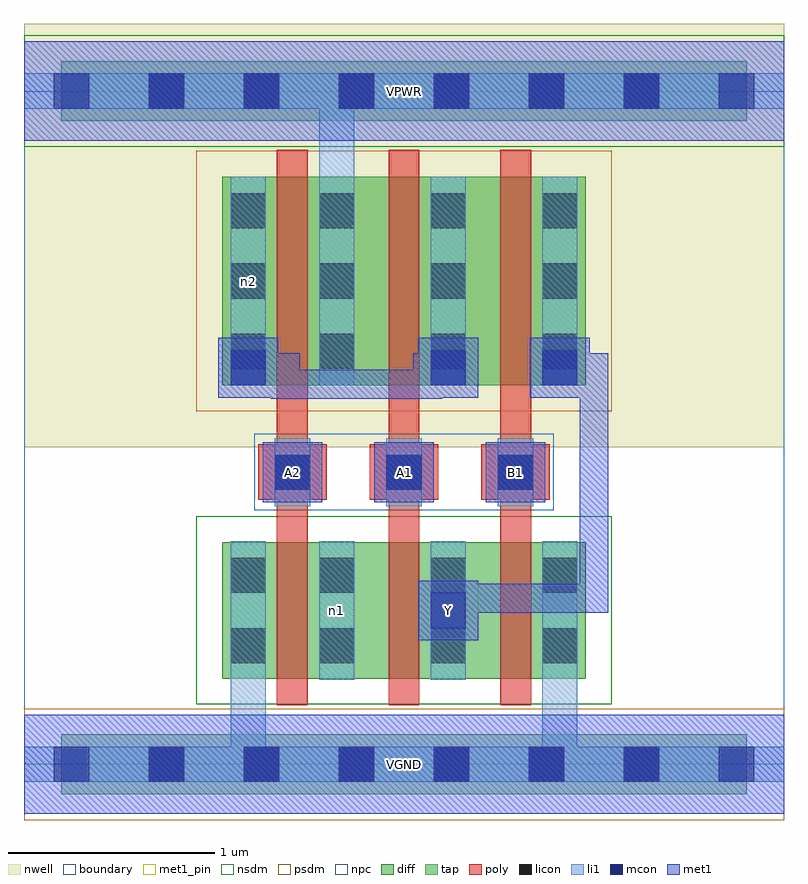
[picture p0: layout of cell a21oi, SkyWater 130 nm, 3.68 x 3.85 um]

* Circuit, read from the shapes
.subckt a21oi A1 A2 B1 VGND VPWR Y n1 n2
XM1 n1 A2 VGND VGND sky130_fd_pr__nfet_01v8 w=0.66 l=0.15
XM2 Y A1 n1 VGND sky130_fd_pr__nfet_01v8 w=0.66 l=0.15
XM3 VGND B1 Y VGND sky130_fd_pr__nfet_01v8 w=0.66 l=0.15
XM4 VPWR A2 n2 VPWR sky130_fd_pr__pfet_01v8 w=1.01 l=0.15
XM5 n2 A1 VPWR VPWR sky130_fd_pr__pfet_01v8 w=1.01 l=0.15
XM6 Y B1 n2 VPWR sky130_fd_pr__pfet_01v8 w=1.01 l=0.15
.ends

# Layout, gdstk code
import gdstk
lib = gdstk.Library(unit=1e-6, precision=1e-09)
def R(c, l, rs):  # rectangles x0, y0, x1, y1
    for r in rs: c.add(gdstk.rectangle(r[:2], r[2:], *l))
def A(c, l, x, y, w, h, nx, ny, dx, dy):  # array of equal rectangles
    R(c, l, [(x+i*dx, y+j*dy, x+i*dx+w, y+j*dy+h) for i in range(nx) for j in range(ny)])
nwell = (64, 20)
diff = (65, 20)
tap = (65, 44)
poly = (66, 20)
licon = (66, 44)
li1 = (67, 20)
mcon = (67, 44)
met1_pin = (68, 16)
met1 = (68, 20)
nsdm = (93, 44)
psdm = (94, 20)
npc = (95, 20)
boundary = (235, 4)

a21oi = lib.new_cell('a21oi')
R(a21oi, nwell, [(0,1.535,3.68,3.585)])
R(a21oi, diff, [(0.96,0.415,2.72,1.075), (0.96,1.835,2.72,2.845)])
R(a21oi, tap, [(0.18,-0.145,3.5,0.145), (0.18,3.115,3.5,3.405)])
A(a21oi, poly, 1.225, 0.285, 0.15, 2.69, 3, 1, 0.54, 0)
A(a21oi, poly, 1.135, 1.28, 0.33, 0.27, 3, 1, 0.54, 0)
A(a21oi, licon, 0.605, -0.085, 0.17, 0.17, 6, 2, 0.46, 3.26)
A(a21oi, licon, 1.43, 0.49, 0.17, 0.17, 3, 2, 0.54, 0.34)
A(a21oi, licon, 1.215, 1.33, 0.17, 0.17, 3, 1, 0.54, 0)
A(a21oi, licon, 1, 1.915, 0.17, 0.17, 1, 3, 0, 0.34)
A(a21oi, licon, 1.43, 1.915, 0.17, 0.17, 3, 3, 0.54, 0.34)
R(a21oi, licon, [(1,0.49,1.17,0.66), (1,0.83,1.17,1)])
A(a21oi, li1, 1.43, 0.41, 0.17, 0.67, 3, 1, 0.54, 0)
A(a21oi, li1, 1.215, 1.25, 0.17, 0.33, 3, 1, 0.54, 0)
A(a21oi, li1, 1.43, 1.835, 0.17, 1.01, 3, 1, 0.54, 0)
R(a21oi, li1, [(0,-0.085,3.68,0.085), (1,-0.085,1.17,1.08), (2.51,-0.085,2.68,1.08), (1,0.41,1.17,1.08), (1,1.835,1.17,2.845), (1.43,1.835,1.6,3.345), (0,3.175,3.68,3.345)])
A(a21oi, mcon, 0.145, -0.085, 0.17, 0.17, 8, 2, 0.46, 3.26)
A(a21oi, mcon, 1.215, 1.33, 0.17, 0.17, 3, 1, 0.54, 0)
R(a21oi, mcon, [(1.97,0.66,2.14,0.83), (1,1.835,1.17,2.005), (1.97,1.835,2.14,2.005), (2.51,1.835,2.68,2.005)])
A(a21oi, met1_pin, 1.155, 1.27, 0.29, 0.29, 3, 1, 0.54, 0)
R(a21oi, met1_pin, [(0,-0.24,3.68,0.24), (1.91,0.6,2.2,0.89), (0,3.02,3.68,3.5)])
A(a21oi, met1, 1.155, 1.27, 0.29, 0.29, 3, 1, 0.54, 0)
R(a21oi, met1, [(0,-0.24,3.68,0.24), (1.91,0.6,2.2,0.89), (2,0.735,2.83,0.875), (2,0.735,2.14,0.875), (2.69,0.735,2.83,1.795), (2.69,1.655,2.83,1.99), (1.195,1.77,1.335,1.99), (1.195,1.77,2.025,1.91), (1.885,1.77,2.025,1.99), (0.94,1.775,1.23,2.065), (1.91,1.775,2.2,2.065), (2.45,1.775,2.74,2.065), (1.015,1.85,1.335,1.99), (1.885,1.85,2.125,1.99), (2.525,1.85,2.83,1.99), (0,3.02,3.68,3.5)])
R(a21oi, nsdm, [(0.835,0.29,2.845,1.2), (0,2.99,3.68,3.53)])
R(a21oi, psdm, [(0,-0.27,3.68,0.27), (0.835,1.71,2.845,2.97)])
R(a21oi, npc, [(1.115,1.23,2.565,1.6)])
R(a21oi, boundary, [(0,0,3.68,3.26)])
a21oi.add(gdstk.Label('n1', (1.515,0.745), layer=67, texttype=5))
a21oi.add(gdstk.Label('n2', (1.085,2.34), layer=67, texttype=5))
a21oi.add(gdstk.Label('A1', (1.84,1.415), layer=68, texttype=5))
a21oi.add(gdstk.Label('A2', (1.3,1.415), layer=68, texttype=5))
a21oi.add(gdstk.Label('B1', (2.38,1.415), layer=68, texttype=5))
a21oi.add(gdstk.Label('Y', (2.055,0.745), layer=68, texttype=5))
a21oi.add(gdstk.Label('VPWR', (1.84,3.26), layer=68, texttype=5))
a21oi.add(gdstk.Label('VGND', (1.84,0), layer=68, texttype=5))
a21oi.add(gdstk.Label('A1', (1.84,1.415), layer=68, texttype=16))
a21oi.add(gdstk.Label('A2', (1.3,1.415), layer=68, texttype=16))
a21oi.add(gdstk.Label('B1', (2.38,1.415), layer=68, texttype=16))
a21oi.add(gdstk.Label('Y', (2.055,0.745), layer=68, texttype=16))
a21oi.add(gdstk.Label('VPWR', (1.84,3.26), layer=68, texttype=16))
a21oi.add(gdstk.Label('VGND', (1.84,0), layer=68, texttype=16))

lib.write_gds('a21oi.gds')
